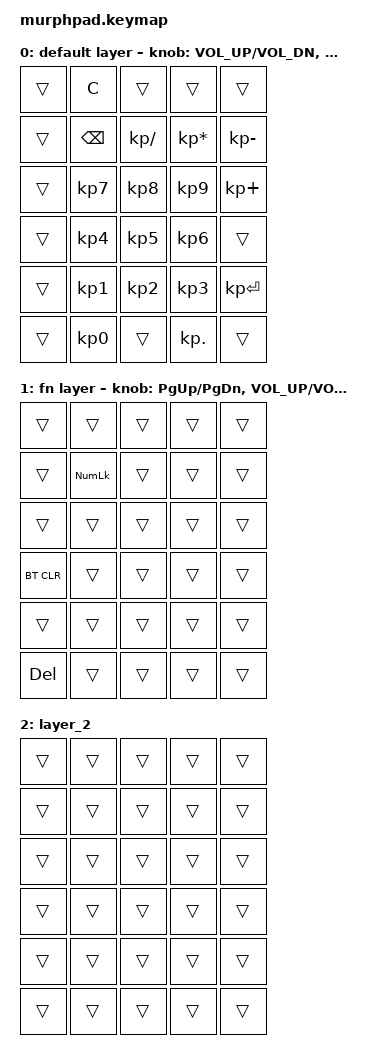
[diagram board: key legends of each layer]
/*
 * Copyright (c) 2021 The ZMK Contributors
 *
 * SPDX-License-Identifier: MIT
 */

#include <behaviors.dtsi>
#include <dt-bindings/zmk/bt.h>
#include <dt-bindings/zmk/keys.h>

#define TIMEOUT 300

&encoder_1 { status = "okay"; };

&encoder_2 { status = "okay"; };

/ {
    combos {
        compatible = "zmk,combos";

        combo_btclr {
            timeout-ms = <TIMEOUT>;
            key-positions = <1 6>;
            bindings = <&bt BT_CLR>;
        };

        combo_reset {
            timeout-ms = <TIMEOUT>;
            key-positions = <1 3>;
            bindings = <&sys_reset>;
        };

        combo_bootloader {
            timeout-ms = <TIMEOUT>;
            key-positions = <1 2>;
            bindings = <&bootloader>;
        };

        combo_bt_nxt {
            timeout-ms = <TIMEOUT>;
            key-positions = <1 4>;
            bindings = <&bt BT_NXT>;
        };
    };

    sensors: sensors {
        compatible = "zmk,keymap-sensors";
        sensors = <&encoder_1 &encoder_2>;
        triggers-per-rotation = <20>;
    };

    keymap0: keymap {
        compatible = "zmk,keymap";

        default_layer {
            display-name = "default layer";
            bindings = <
&trans  &kp C          &trans         &trans           &trans
&trans  &kp BACKSPACE  &kp KP_DIVIDE  &kp KP_MULTIPLY  &kp KP_MINUS
&trans  &kp KP_N7      &kp KP_N8      &kp KP_N9        &kp KP_PLUS
&trans  &kp KP_N4      &kp KP_N5      &kp KP_N6        &trans
&trans  &kp KP_N1      &kp KP_N2      &kp KP_N3        &kp KP_ENTER
&trans  &kp KP_N0      &trans         &kp KP_DOT       &trans
            >;

            sensor-bindings = <&inc_dec_kp C_VOL_UP C_VOL_DN &inc_dec_kp PG_UP PG_DN>;
        };

        fn_layer {
            display-name = "fn layer";
            bindings = <
&trans      &trans      &trans  &trans  &trans
&trans      &kp KP_NUM  &trans  &trans  &trans
&trans      &trans      &trans  &trans  &trans
&bt BT_CLR  &trans      &trans  &trans  &trans
&trans      &trans      &trans  &trans  &trans
&kp DEL     &trans      &trans  &trans  &trans
            >;

            sensor-bindings = <&inc_dec_kp PG_UP PG_DN &inc_dec_kp C_VOL_UP C_VOL_DN>;
        };

        layer_2 {
            bindings = <
&trans  &trans  &trans  &trans  &trans
&trans  &trans  &trans  &trans  &trans
&trans  &trans  &trans  &trans  &trans
&trans  &trans  &trans  &trans  &trans
&trans  &trans  &trans  &trans  &trans
&trans  &trans  &trans  &trans  &trans
            >;
        };
    };
};
